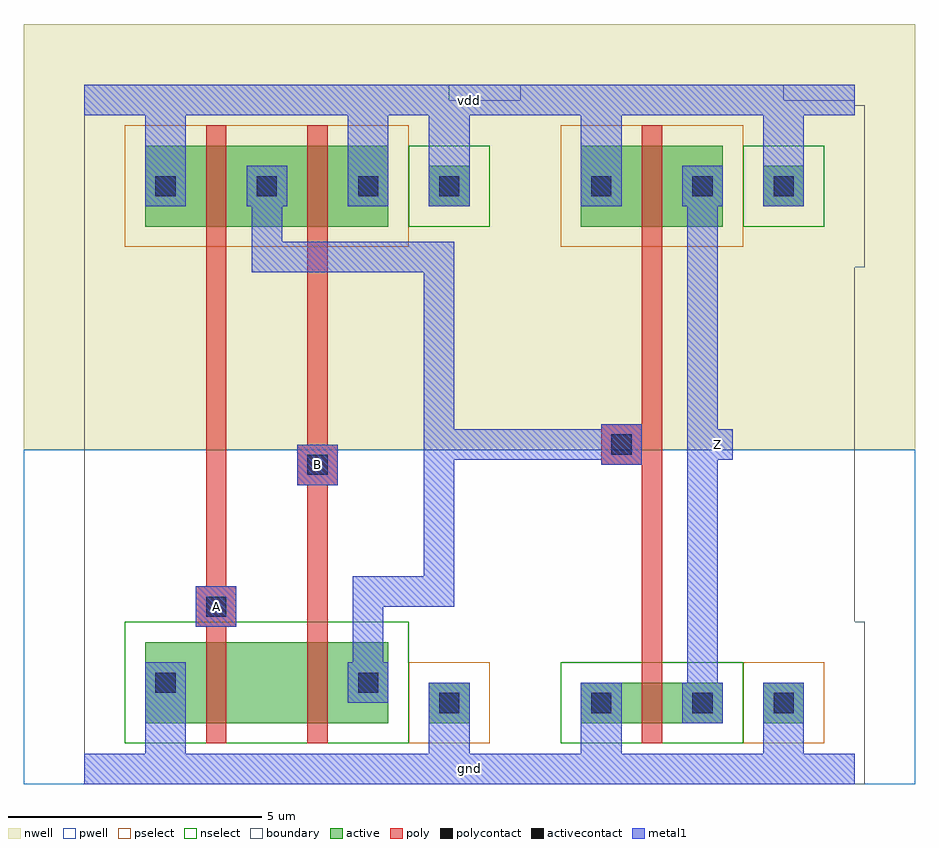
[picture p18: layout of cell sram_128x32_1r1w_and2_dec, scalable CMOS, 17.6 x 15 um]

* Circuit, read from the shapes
.subckt sram_128x32_1r1w_and2_dec A B Z gnd vdd
M1 sram_128x32_1r1w_pnand2_0/sram_128x32_1r1w_nmos_m1_w1_600_sm1_dactive_2/D A gnd gnd nfet w=1.6u l=0.4u
M2 sram_128x32_1r1w_pinv_1/A B sram_128x32_1r1w_pnand2_0/sram_128x32_1r1w_nmos_m1_w1_600_sm1_dactive_2/D gnd nfet w=1.6u l=0.4u
M3 Z sram_128x32_1r1w_pinv_1/A gnd gnd nfet w=0.8u l=0.4u
M4 sram_128x32_1r1w_pinv_1/A A vdd vdd pfet w=1.6u l=0.4u
M5 vdd B sram_128x32_1r1w_pinv_1/A vdd pfet w=1.6u l=0.4u
M6 Z sram_128x32_1r1w_pinv_1/A vdd vdd pfet w=1.6u l=0.4u
.ends

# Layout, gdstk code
import gdstk
lib = gdstk.Library(unit=1e-6, precision=1e-09)
def R(c, l, rs):  # rectangles x0, y0, x1, y1
    for r in rs: c.add(gdstk.rectangle(r[:2], r[2:], *l))
pwell = (41, 0)
nwell = (42, 0)
active = (43, 0)
pselect = (44, 0)
nselect = (45, 0)
poly = (46, 0)
polycontact = (47, 0)
activecontact = (48, 0)
metal1 = (49, 0)
boundary = (63, 0)

sram_128x32_1r1w_contact = lib.new_cell('sram_128x32_1r1w_contact_11')
R(sram_128x32_1r1w_contact, nwell, [(-1.2,-1.2,2,2)])
R(sram_128x32_1r1w_contact, active, [(0,0,0.8,0.8)])
R(sram_128x32_1r1w_contact, pselect, [(-0.4,-0.4,1.2,1.2)])
R(sram_128x32_1r1w_contact, activecontact, [(0.2,0.2,0.6,0.6)])
R(sram_128x32_1r1w_contact, metal1, [(0,0,0.8,0.8)])
R(sram_128x32_1r1w_contact, boundary, [(-1.2,-1.2,2,2)])

sram_128x32_1r1w_pmos_m1 = lib.new_cell('sram_128x32_1r1w_pmos_m1_w1_600_sm1_dm1')
R(sram_128x32_1r1w_pmos_m1, nwell, [(-1.2,-1.2,4,2.8)])
R(sram_128x32_1r1w_pmos_m1, active, [(0,0,2.8,1.6)])
R(sram_128x32_1r1w_pmos_m1, pselect, [(-0.4,-0.4,3.2,2)])
R(sram_128x32_1r1w_pmos_m1, poly, [(1.2,-0.4,1.6,2), (1.2,-0.4,1.6,2)])
R(sram_128x32_1r1w_pmos_m1, metal1, [(0,0.4,0.8,1.2), (2,0.4,2.8,1.2)])
R(sram_128x32_1r1w_pmos_m1, boundary, [(-1.2,-1.2,4,2.8)])
sram_128x32_1r1w_pmos_m1.add(gdstk.Reference(sram_128x32_1r1w_contact, (0,0.4)))
sram_128x32_1r1w_pmos_m1.add(gdstk.Reference(sram_128x32_1r1w_contact, (2,0.4)))
sram_128x32_1r1w_pmos_m1.add(gdstk.Label('G', (1.4,0.8), layer=46, texttype=0))
sram_128x32_1r1w_pmos_m1.add(gdstk.Label('S', (0.4,0.8), layer=49, texttype=0))
sram_128x32_1r1w_pmos_m1.add(gdstk.Label('D', (2.4,0.8), layer=49, texttype=0))

c_sram_128x32_1r1w_contact = lib.new_cell('sram_128x32_1r1w_contact_10')
R(c_sram_128x32_1r1w_contact, pwell, [(-1.2,-1.2,2,2)])
R(c_sram_128x32_1r1w_contact, active, [(0,0,0.8,0.8)])
R(c_sram_128x32_1r1w_contact, nselect, [(-0.4,-0.4,1.2,1.2)])
R(c_sram_128x32_1r1w_contact, activecontact, [(0.2,0.2,0.6,0.6)])
R(c_sram_128x32_1r1w_contact, metal1, [(0,0,0.8,0.8)])
R(c_sram_128x32_1r1w_contact, boundary, [(-1.2,-1.2,2,2)])

sram_128x32_1r1w_nmos_m1 = lib.new_cell('sram_128x32_1r1w_nmos_m1_w1_600_sm1_dactive')
R(sram_128x32_1r1w_nmos_m1, pwell, [(-1.2,-1.2,4,2.8)])
R(sram_128x32_1r1w_nmos_m1, active, [(0,0,2.8,1.6), (2.1,0.5,2.7,1.1)])
R(sram_128x32_1r1w_nmos_m1, nselect, [(-0.4,-0.4,3.2,2)])
R(sram_128x32_1r1w_nmos_m1, poly, [(1.2,-0.4,1.6,2), (1.2,-0.4,1.6,2)])
R(sram_128x32_1r1w_nmos_m1, metal1, [(0,0.4,0.8,1.2)])
R(sram_128x32_1r1w_nmos_m1, boundary, [(-1.2,-1.2,4,2.8)])
sram_128x32_1r1w_nmos_m1.add(gdstk.Reference(c_sram_128x32_1r1w_contact, (0,0.4)))
sram_128x32_1r1w_nmos_m1.add(gdstk.Label('G', (1.4,0.8), layer=46, texttype=0))
sram_128x32_1r1w_nmos_m1.add(gdstk.Label('S', (0.4,0.8), layer=49, texttype=0))
sram_128x32_1r1w_nmos_m1.add(gdstk.Label('D', (2.4,0.8), layer=43, texttype=0))

c_sram_128x32_1r1w_nmos_m1 = lib.new_cell('sram_128x32_1r1w_nmos_m1_w1_600_sactive_dm1')
R(c_sram_128x32_1r1w_nmos_m1, pwell, [(-1.2,-1.2,4,2.8)])
R(c_sram_128x32_1r1w_nmos_m1, active, [(0,0,2.8,1.6), (0.1,0.5,0.7,1.1)])
R(c_sram_128x32_1r1w_nmos_m1, nselect, [(-0.4,-0.4,3.2,2)])
R(c_sram_128x32_1r1w_nmos_m1, poly, [(1.2,-0.4,1.6,2), (1.2,-0.4,1.6,2)])
R(c_sram_128x32_1r1w_nmos_m1, metal1, [(2,0.4,2.8,1.2)])
R(c_sram_128x32_1r1w_nmos_m1, boundary, [(-1.2,-1.2,4,2.8)])
c_sram_128x32_1r1w_nmos_m1.add(gdstk.Reference(c_sram_128x32_1r1w_contact, (2,0.4)))
c_sram_128x32_1r1w_nmos_m1.add(gdstk.Label('G', (1.4,0.8), layer=46, texttype=0))
c_sram_128x32_1r1w_nmos_m1.add(gdstk.Label('S', (0.4,0.8), layer=43, texttype=0))
c_sram_128x32_1r1w_nmos_m1.add(gdstk.Label('D', (2.4,0.8), layer=49, texttype=0))

c_sram_128x32_1r1w_contact_ = lib.new_cell('sram_128x32_1r1w_contact_12')
R(c_sram_128x32_1r1w_contact_, nwell, [(-1.2,-1.2,2,2)])
R(c_sram_128x32_1r1w_contact_, active, [(0,0,0.8,0.8)])
R(c_sram_128x32_1r1w_contact_, nselect, [(-0.4,-0.4,1.2,1.2)])
R(c_sram_128x32_1r1w_contact_, activecontact, [(0.2,0.2,0.6,0.6)])
R(c_sram_128x32_1r1w_contact_, metal1, [(0,0,0.8,0.8)])
R(c_sram_128x32_1r1w_contact_, boundary, [(-1.2,-1.2,2,2)])

c_sram_128x32_1r1w_contact__ = lib.new_cell('sram_128x32_1r1w_contact_13')
R(c_sram_128x32_1r1w_contact__, pwell, [(-1.2,-1.2,2,2)])
R(c_sram_128x32_1r1w_contact__, active, [(0,0,0.8,0.8)])
R(c_sram_128x32_1r1w_contact__, pselect, [(-0.4,-0.4,1.2,1.2)])
R(c_sram_128x32_1r1w_contact__, activecontact, [(0.2,0.2,0.6,0.6)])
R(c_sram_128x32_1r1w_contact__, metal1, [(0,0,0.8,0.8)])
R(c_sram_128x32_1r1w_contact__, boundary, [(-1.2,-1.2,2,2)])

c_sram_128x32_1r1w_contact___ = lib.new_cell('sram_128x32_1r1w_contact_14')
R(c_sram_128x32_1r1w_contact___, poly, [(0,0,0.8,0.8)])
R(c_sram_128x32_1r1w_contact___, polycontact, [(0.2,0.2,0.6,0.6)])
R(c_sram_128x32_1r1w_contact___, metal1, [(0,0,0.8,0.8)])
R(c_sram_128x32_1r1w_contact___, boundary, [(0,0,0.8,0.8)])

sram_128x32_1r1w_pnand2 = lib.new_cell('sram_128x32_1r1w_pnand2')
R(sram_128x32_1r1w_pnand2, pwell, [(-1.2,-0.3,9.8,6.3)])
R(sram_128x32_1r1w_pnand2, nwell, [(-1.2,6.3,9.8,14.7)])
R(sram_128x32_1r1w_pnand2, poly, [(2.4,2.8,2.6,3.6), (2.4,2.9,2.8,10.3), (4.4,2.9,4.8,10.3), (4.4,5.6,4.6,6.4)])
R(sram_128x32_1r1w_pnand2, metal1, [(0,-0.3,8.6,0.3), (1.2,-0.3,2,1.3), (6.8,0,7.6,1.3), (5.3,2.1,5.9,3.5), (2.2,2.8,3,3.6), (5.3,3.2,5.9,3.8), (5.6,3.2,7,3.8), (6.7,3.2,7.3,3.8), (6.7,3.5,7.3,10.1), (4.2,5.6,5,6.4), (3.3,9.8,3.9,10.4), (3.6,9.8,7,10.4), (6.7,9.8,7.3,10.4), (3.3,10.1,3.9,11.1), (1.2,11.1,2,13.5), (5.2,11.1,6,13.5), (6.8,11.5,7.6,13.2), (0,12.9,8.6,13.5)])
R(sram_128x32_1r1w_pnand2, boundary, [(0,0,8.6,13.2), (0,0,8.6,13.2)])
sram_128x32_1r1w_pnand2.add(gdstk.Reference(sram_128x32_1r1w_pmos_m1, (1.2,10.7)))
sram_128x32_1r1w_pnand2.add(gdstk.Reference(sram_128x32_1r1w_pmos_m1, (3.2,10.7)))
sram_128x32_1r1w_pnand2.add(gdstk.Reference(sram_128x32_1r1w_nmos_m1, (1.2,0.9)))
sram_128x32_1r1w_pnand2.add(gdstk.Reference(c_sram_128x32_1r1w_nmos_m1, (3.2,0.9)))
sram_128x32_1r1w_pnand2.add(gdstk.Reference(c_sram_128x32_1r1w_contact_, (6.8,11.1)))
sram_128x32_1r1w_pnand2.add(gdstk.Reference(c_sram_128x32_1r1w_contact__, (6.8,0.9)))
sram_128x32_1r1w_pnand2.add(gdstk.Reference(c_sram_128x32_1r1w_contact___, (2.2,2.8)))
sram_128x32_1r1w_pnand2.add(gdstk.Reference(c_sram_128x32_1r1w_contact___, (4.2,5.6)))
sram_128x32_1r1w_pnand2.add(gdstk.Label('Z', (7,10.1), layer=49, texttype=0))
sram_128x32_1r1w_pnand2.add(gdstk.Label('gnd', (4.3,0), layer=49, texttype=0))
sram_128x32_1r1w_pnand2.add(gdstk.Label('vdd', (4.3,13.2), layer=49, texttype=0))
sram_128x32_1r1w_pnand2.add(gdstk.Label('A', (2.6,3.2), layer=49, texttype=0))
sram_128x32_1r1w_pnand2.add(gdstk.Label('B', (4.6,6), layer=49, texttype=0))

c_sram_128x32_1r1w_pmos_m1 = lib.new_cell('sram_128x32_1r1w_pmos_m1_w1_600_sm1_dm1_da_p')
R(c_sram_128x32_1r1w_pmos_m1, nwell, [(-1.2,-1.2,4,2.8)])
R(c_sram_128x32_1r1w_pmos_m1, active, [(0,0,2.8,1.6)])
R(c_sram_128x32_1r1w_pmos_m1, pselect, [(-0.4,-0.4,3.2,2)])
R(c_sram_128x32_1r1w_pmos_m1, poly, [(1.2,-0.4,1.6,2), (1.2,-0.4,1.6,2)])
R(c_sram_128x32_1r1w_pmos_m1, metal1, [(0,0.4,0.8,1.2), (2,0.4,2.8,1.2)])
R(c_sram_128x32_1r1w_pmos_m1, boundary, [(-1.2,-1.2,4,2.8)])
c_sram_128x32_1r1w_pmos_m1.add(gdstk.Reference(sram_128x32_1r1w_contact, (0,0.4)))
c_sram_128x32_1r1w_pmos_m1.add(gdstk.Reference(sram_128x32_1r1w_contact, (2,0.4)))
c_sram_128x32_1r1w_pmos_m1.add(gdstk.Label('G', (1.4,0.8), layer=46, texttype=0))
c_sram_128x32_1r1w_pmos_m1.add(gdstk.Label('S', (0.4,0.8), layer=49, texttype=0))
c_sram_128x32_1r1w_pmos_m1.add(gdstk.Label('D', (2.4,0.8), layer=49, texttype=0))

c_sram_128x32_1r1w_nmos_m1_ = lib.new_cell('sram_128x32_1r1w_nmos_m1_w0_800_sm1_dm1_da_p')
R(c_sram_128x32_1r1w_nmos_m1_, pwell, [(-1.2,-1.2,4,2)])
R(c_sram_128x32_1r1w_nmos_m1_, active, [(0,0,2.8,0.8)])
R(c_sram_128x32_1r1w_nmos_m1_, nselect, [(-0.4,-0.4,3.2,1.2)])
R(c_sram_128x32_1r1w_nmos_m1_, poly, [(1.2,-0.4,1.6,1.2), (1.2,-0.4,1.6,1.2)])
R(c_sram_128x32_1r1w_nmos_m1_, metal1, [(0,0,0.8,0.8), (2,0,2.8,0.8)])
R(c_sram_128x32_1r1w_nmos_m1_, boundary, [(-1.2,-1.2,4,2)])
c_sram_128x32_1r1w_nmos_m1_.add(gdstk.Reference(c_sram_128x32_1r1w_contact, (0,0)))
c_sram_128x32_1r1w_nmos_m1_.add(gdstk.Reference(c_sram_128x32_1r1w_contact, (2,0)))
c_sram_128x32_1r1w_nmos_m1_.add(gdstk.Label('G', (1.4,0.4), layer=46, texttype=0))
c_sram_128x32_1r1w_nmos_m1_.add(gdstk.Label('S', (0.4,0.4), layer=49, texttype=0))
c_sram_128x32_1r1w_nmos_m1_.add(gdstk.Label('D', (2.4,0.4), layer=49, texttype=0))

sram_128x32_1r1w_pinv = lib.new_cell('sram_128x32_1r1w_pinv')
R(sram_128x32_1r1w_pinv, pwell, [(-1.2,-0.3,7.8,6.3)])
R(sram_128x32_1r1w_pinv, nwell, [(-1.2,6.3,7.8,14.7)])
R(sram_128x32_1r1w_pinv, poly, [(2.4,2.1,2.8,10.3), (2,6,2.4,6.8)])
R(sram_128x32_1r1w_pinv, metal1, [(0,-0.3,6.6,0.3), (1.2,-0.3,2,0.9), (4.8,0,5.6,1.3), (3.3,0.9,3.9,11.9), (1.6,6,2.4,6.8), (3.6,6.1,4.2,6.7), (1.2,11.1,2,13.5), (4.8,11.5,5.6,13.2), (0,12.9,6.6,13.5)])
R(sram_128x32_1r1w_pinv, boundary, [(0,0,6.6,13.2), (0,0,6.6,13.2)])
sram_128x32_1r1w_pinv.add(gdstk.Reference(c_sram_128x32_1r1w_pmos_m1, (1.2,10.7)))
sram_128x32_1r1w_pinv.add(gdstk.Reference(c_sram_128x32_1r1w_nmos_m1_, (1.2,0.9)))
sram_128x32_1r1w_pinv.add(gdstk.Reference(c_sram_128x32_1r1w_contact_, (4.8,11.1)))
sram_128x32_1r1w_pinv.add(gdstk.Reference(c_sram_128x32_1r1w_contact__, (4.8,0.9)))
sram_128x32_1r1w_pinv.add(gdstk.Reference(c_sram_128x32_1r1w_contact___, (1.6,6)))
sram_128x32_1r1w_pinv.add(gdstk.Label('A', (2,6.4), layer=49, texttype=0))
sram_128x32_1r1w_pinv.add(gdstk.Label('Z', (3.9,6.4), layer=49, texttype=0))
sram_128x32_1r1w_pinv.add(gdstk.Label('gnd', (3.3,0), layer=49, texttype=0))
sram_128x32_1r1w_pinv.add(gdstk.Label('vdd', (3.3,13.2), layer=49, texttype=0))

sram_128x32_1r1w_and2_de = lib.new_cell('sram_128x32_1r1w_and2_dec')
R(sram_128x32_1r1w_and2_de, metal1, [(0,-0.3,15.2,0.3), (2.2,2.8,3,3.6), (4.2,5.6,5,6.4), (6.7,6.1,7.3,6.7), (7,6.1,10.6,6.7), (12.2,6.1,12.8,6.7), (6.7,6.4,7.3,10.1), (0,12.9,15.2,13.5)])
R(sram_128x32_1r1w_and2_de, boundary, [(0,0,15.2,13.2)])
sram_128x32_1r1w_and2_de.add(gdstk.Reference(sram_128x32_1r1w_pnand2, (0,0)))
sram_128x32_1r1w_and2_de.add(gdstk.Reference(sram_128x32_1r1w_pinv, (8.6,0)))
sram_128x32_1r1w_and2_de.add(gdstk.Label('Z', (12.5,6.4), layer=49, texttype=0))
sram_128x32_1r1w_and2_de.add(gdstk.Label('A', (2.6,3.2), layer=49, texttype=0))
sram_128x32_1r1w_and2_de.add(gdstk.Label('B', (4.6,6), layer=49, texttype=0))
sram_128x32_1r1w_and2_de.add(gdstk.Label('gnd', (7.6,0), layer=49, texttype=0))
sram_128x32_1r1w_and2_de.add(gdstk.Label('vdd', (7.6,13.2), layer=49, texttype=0))

lib.write_gds('sram_128x32_1r1w_and2_dec.gds')
